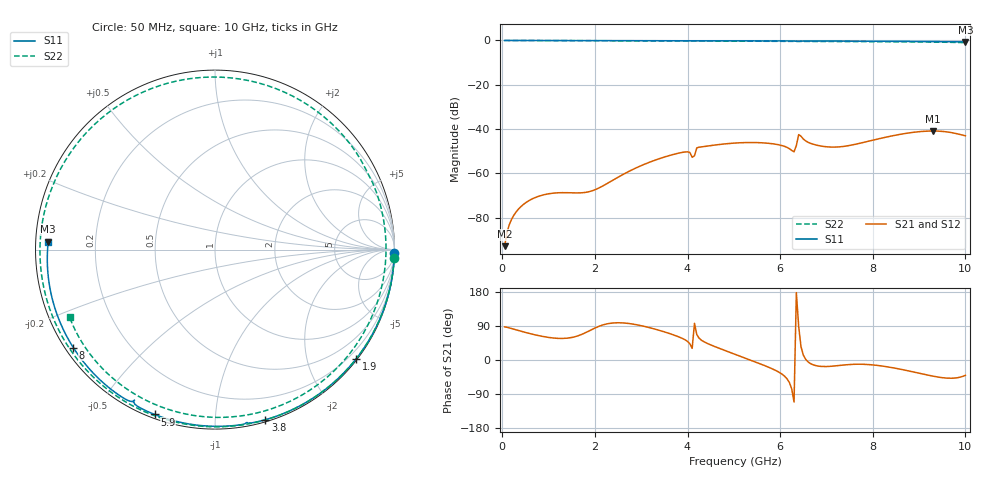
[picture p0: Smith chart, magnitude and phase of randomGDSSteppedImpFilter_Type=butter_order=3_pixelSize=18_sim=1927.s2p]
! freq	dB(S11)	phase(S11)	dB(S12)	phase(S12)
!  dB(S21)	phase(S21)	dB(S22)	phase(S22)
!S-par simulation data
#  GHz  S  DB  R 50
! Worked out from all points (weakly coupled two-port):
!   200 points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, 50 MHz to 10 GHz, reference 50 ohm
!   highest |S21| = -40.90 dB at 9.3 GHz (marker M1); lowest = -92.9 dB at 50 MHz (marker M2)
!   lowest |S11| = -0.6 dB at 10 GHz (marker M3), VSWR 27.66, Z = 1.81 + j1.19 ohm
!   |S11| at or under -10 dB: nowhere
!   |S22| runs from -1.0 to 0.0 dB; largest |S21 - S12| = 0
!   S11 on the Smith chart (normalised r, x): 50 MHz: open; 1.9 GHz: 0.03, -2.92; 3.8 GHz: 0.02, -1.34; 5.9 GHz: 0.02, -0.70; 8 GHz: 0.02, -0.31; 10 GHz: 0.04, +0.02
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0.05  -0.00 -1.0  -92.94 87.3  -92.94 87.3  -0.00 -2.6
0.2  -0.01 -4.1  -80.84 82.9  -80.84 82.9  -0.02 -10.4
0.8  -0.02 -16.1  -70.28 63.9  -70.28 63.9  -0.05 -41.0
1.75  -0.04 -34.9  -68.76 69.4  -68.76 69.4  -0.11 -87.6
1.9  -0.05 -37.8  -68.18 78.3  -68.18 78.3  -0.12 -94.8
2.6  -0.07 -51.2  -60.62 97.9  -60.62 97.9  -0.15 -127.5
3.4  -0.09 -66.2  -53.34 77.9  -53.34 77.9  -0.20 -165.0
3.8  -0.10 -73.5  -50.94 61.6  -50.94 61.6  -0.22 175.6
4.05  -0.11 -78.1  -50.61 42.9  -50.61 42.9  -0.24 163.1
4.1  -0.14 -79.1  -52.78 30.8  -52.78 30.8  -0.25 160.6
4.2  -0.13 -80.4  -48.50 67.1  -48.50 67.1  -0.25 155.4
5.05  -0.15 -95.5  -46.31 14.0  -46.31 14.0  -0.32 108.6
5.5  -0.17 -103.2  -46.14 -6.8  -46.14 -6.8  -0.35 81.7
5.9  -0.19 -110.1  -46.87 -27.3  -46.87 -27.3  -0.38 56.8
6.3  -0.26 -117.3  -50.29 -110.8  -50.29 -110.8  -0.41 31.8
6.4  -0.44 -118.1  -42.52 88.5  -42.52 88.5  -0.43 25.8
6.7  -0.25 -123.2  -46.80 -12.1  -46.80 -12.1  -0.41 7.4
7.25  -0.29 -132.6  -48.11 -14.8  -48.11 -14.8  -0.44 -24.5
8  -0.36 -145.4  -45.05 -12.9  -45.05 -12.9  -0.51 -63.5
8.35  -0.39 -151.4  -43.39 -18.7  -43.39 -18.7  -0.55 -80.1
9.3  -0.51 -168.7  -40.90 -42.7  -40.90 -42.7  -0.73 -122.4
10  -0.63 177.3  -43.07 -40.5  -43.07 -40.5  -0.98 -155.0
